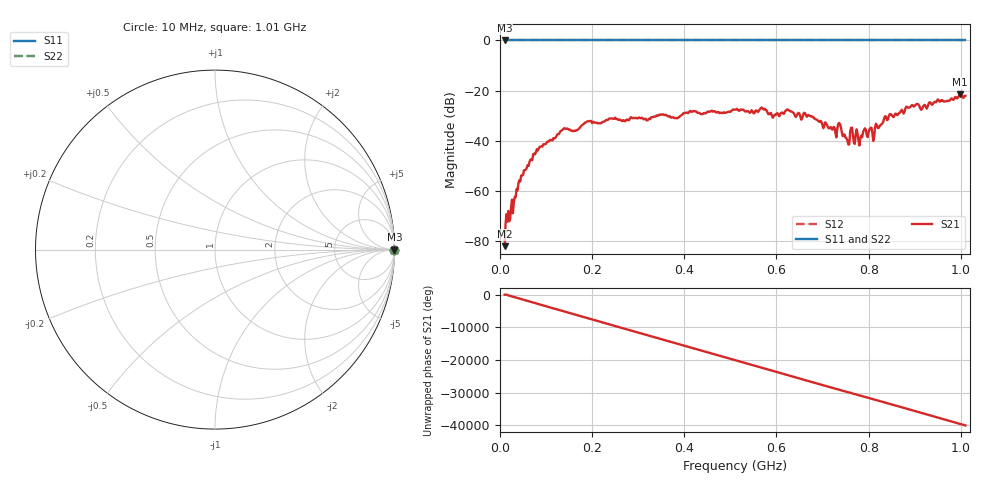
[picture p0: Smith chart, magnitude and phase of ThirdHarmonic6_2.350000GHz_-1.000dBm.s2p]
! 8/17/2025 3:32:14 AM
! C:\ANRITSUVNA\TEMP\TEMP.S2P
! CHANNEL.1
! TR.MEASUREMENT
! RAW.DATA
! RF.CORRECTION.OFF
! AVERAGING.OFF
! IF.BANDWIDTH: 5KHZ
! SWEEPTYPE:  FREQ.SWEEP(Linear)
! Reference Plane Port Info
! PORT:  PORT1  PORT2
! DISTANCE:  0  m  0  m
! TIME:  0  s  0  s
! PHASE.OFFSET:  0  deg.  0  deg.
! LOSS:  0  dB  0  dB
! REF.LOSS:  0  dB  0  dB
! REF.FREQ:  0  Hz  0  Hz
! Power Info
! POWER:  -20  dBm  -20  dBm
! EFF.POWER:  -20  dBm  -20  dBm
! SOURCE.ATTEN:  0  dB  0  dB
! TEST.ATTEN:  0  dB  0  dB
# GHZ S RI R 50.0
! FREQ.GHZ  S11RE  S11IM  S21RE  S21IM  S12RE  S12IM  S22RE  S22IM
!; PortSelection: Port_12
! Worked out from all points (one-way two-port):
!   501 points, 10 MHz to 1.01 GHz, reference 50 ohm
!   highest |S21| = -21.46 dB at 998 MHz (marker M1); lowest = -82.2 dB at 10 MHz (marker M2)
!   lowest |S11| = 0.0 dB at 10 MHz (marker M3)
!   |S11| at or under -10 dB: nowhere
!   |S22| runs from 0.0 to 0.0 dB; largest |S21 - S12| = 1.1
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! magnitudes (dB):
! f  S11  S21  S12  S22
! 10 MHz  0.0  -82.2  0.0  0.0
! 16 MHz  0.0  -72.4  0.0  0.0
! 44 MHz  0.0  -56.4  0.0  0.0
! 76 MHz  0.0  -45.5  0.0  0.0
! 136 MHz  0.0  -35.6  0.0  0.0
! 178 MHz  0.0  -33.8  0.0  0.0
! 344 MHz  0.0  -29.9  0.0  0.0
! 510 MHz  0.0  -27.7  0.0  0.0
! 570 MHz  0.0  -27.2  0.0  0.0
! 594 MHz  0.0  -30.3  0.0  0.0
! 624 MHz  0.0  -27.5  0.0  0.0
! 678 MHz  0.0  -30.6  0.0  0.0
! 726 MHz  0.0  -34.8  0.0  0.0
! 736 MHz  0.0  -32.9  0.0  0.0
! 754 MHz  0.0  -39.9  0.0  0.0
! 764 MHz  0.0  -34.8  0.0  0.0
! 782 MHz  0.0  -39.0  0.0  0.0
! 790 MHz  0.0  -35.7  0.0  0.0
! 810 MHz  0.0  -40.1  0.0  0.0
! 844 MHz  0.0  -30.0  0.0  0.0
! 998 MHz  0.0  -21.5  0.0  0.0
! 1.01 GHz  0.0  -22.1  0.0  0.0
